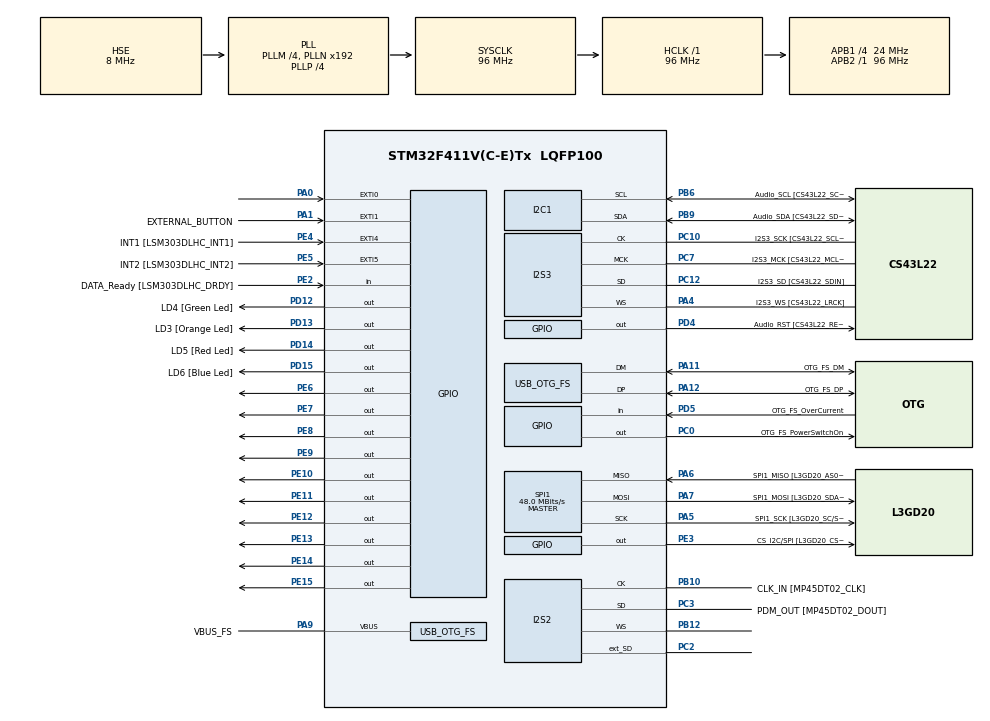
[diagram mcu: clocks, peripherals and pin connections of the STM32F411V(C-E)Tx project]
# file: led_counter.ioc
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I2S2.AudioFreq=I2S_AUDIOFREQ_96K
I2S2.ErrorAudioFreq=0.15 %
I2S2.FullDuplexMode=I2S_FULLDUPLEXMODE_ENABLE
I2S2.Instance=SPI$Index
I2S2.RealAudioFreq=96.153 KHz
I2S2.VirtualMode=I2S_MODE_MASTER
I2S3.AudioFreq=I2S_AUDIOFREQ_96K
I2S3.ErrorAudioFreq=-6.99 %
I2S3.FullDuplexMode=I2S_FULLDUPLEXMODE_DISABLE
I2S3.Instance=SPI$Index
I2S3.RealAudioFreq=89.285 KHz
I2S3.VirtualMode=I2S_MODE_MASTER
Mcu.Family=STM32F4
Mcu.Name=STM32F411V(C-E)Tx
Mcu.Package=LQFP100
NVIC.EXTI0_IRQn=true\:0\:0\:false\:false\:true\:true\:true\:true
NVIC.EXTI1_IRQn=true\:0\:0\:false\:false\:true\:true\:true\:true
NVIC.OTG_FS_IRQn=true\:0\:0\:false\:false\:true\:true\:true\:true
NVIC.PriorityGroup=NVIC_PRIORITYGROUP_0
PA0-WKUP.GPIO_ModeDefaultEXTI=GPIO_MODE_IT_RISING_FALLING
PA0-WKUP.Signal=GPXTI0
PA1.GPIO_Label=EXTERNAL_BUTTON
PA1.GPIO_ModeDefaultEXTI=GPIO_MODE_IT_RISING_FALLING
PA1.Signal=GPXTI1
PA10.GPIO_Label=OTG_FS_ID
PA10.Signal=USB_OTG_FS_ID
PA11.GPIO_Label=OTG_FS_DM
PA11.Mode=Host_Only
PA11.Signal=USB_OTG_FS_DM
PA12.GPIO_Label=OTG_FS_DP
PA12.Mode=Host_Only
PA12.Signal=USB_OTG_FS_DP
PA13.GPIO_Label=SWDIO
PA13.Mode=Serial_Wire
PA13.Signal=SYS_JTMS-SWDIO
PA14.GPIO_Label=SWCLK
PA14.Mode=Serial_Wire
PA14.Signal=SYS_JTCK-SWCLK
PA4.GPIO_Label=I2S3_WS [CS43L22_LRCK]
PA4.GPIO_Mode=GPIO_MODE_AF_PP
PA4.GPIO_PuPd=GPIO_NOPULL
PA4.GPIO_Speed=GPIO_SPEED_FREQ_LOW
PA4.Mode=Half_Duplex_Master
PA4.Signal=I2S3_WS
PA5.GPIO_Label=SPI1_SCK [L3GD20_SC/SPC]
PA5.Mode=Full_Duplex_Master
PA5.Signal=SPI1_SCK
PA6.GPIO_Label=SPI1_MISO [L3GD20_AS0/SDO]
PA6.Mode=Full_Duplex_Master
PA6.Signal=SPI1_MISO
PA7.GPIO_Label=SPI1_MOSI [L3GD20_SDA/SDI/SDO]
PA7.Mode=Full_Duplex_Master
PA7.Signal=SPI1_MOSI
PA9.GPIO_Label=VBUS_FS
PA9.Mode=Activate_VBUS
PA9.Signal=USB_OTG_FS_VBUS
PB10.GPIO_Label=CLK_IN [MP45DT02_CLK]
PB10.Mode=Full_Duplex_Master
PB10.Signal=I2S2_CK
PB12.Mode=Full_Duplex_Master
PB12.Signal=I2S2_WS
PB3.GPIO_Label=SWO
PB3.Signal=SYS_JTDO-SWO
PB6.GPIO_Label=Audio_SCL [CS43L22_SCL]
PB6.GPIO_Mode=GPIO_MODE_AF_OD
PB6.GPIO_Pu=GPIO_PULLUP
PB6.GPIO_PuPd=GPIO_NOPULL
PB6.GPIO_Speed=GPIO_SPEED_FREQ_LOW
PB6.Mode=I2C
PB6.Signal=I2C1_SCL
PB9.GPIO_Label=Audio_SDA [CS43L22_SDA]
PB9.GPIO_Mode=GPIO_MODE_AF_OD
PB9.GPIO_Pu=GPIO_PULLUP
PB9.GPIO_PuPd=GPIO_NOPULL
PB9.GPIO_Speed=GPIO_SPEED_FREQ_LOW
PB9.Mode=I2C
PB9.Signal=I2C1_SDA
PC0.GPIO_Label=OTG_FS_PowerSwitchOn
PC0.PinState=GPIO_PIN_SET
PC0.Signal=GPIO_Output
PC10.GPIO_Label=I2S3_SCK [CS43L22_SCLK]
PC10.GPIO_Mode=GPIO_MODE_AF_PP
PC10.GPIO_PuPd=GPIO_NOPULL
PC10.GPIO_Speed=GPIO_SPEED_FREQ_LOW
PC10.Mode=Half_Duplex_Master
PC10.Signal=I2S3_CK
PC12.GPIO_Label=I2S3_SD [CS43L22_SDIN]
PC12.GPIO_Mode=GPIO_MODE_AF_PP
PC12.GPIO_PuPd=GPIO_NOPULL
PC12.GPIO_Speed=GPIO_SPEED_FREQ_LOW
PC12.Mode=Half_Duplex_Master
PC12.Signal=I2S3_SD
PC14-OSC32_IN.GPIO_Label=PC14-OSC32_IN
PC14-OSC32_IN.Mode=LSE-External-Oscillator
PC14-OSC32_IN.Signal=RCC_OSC32_IN
PC15-OSC32_OUT.GPIO_Label=PC15-OSC32_OUT
PC15-OSC32_OUT.Mode=LSE-External-Oscillator
PC15-OSC32_OUT.Signal=RCC_OSC32_OUT
PC2.Mode=Full_Duplex_Master
PC2.Signal=I2S2_ext_SD
PC3.GPIO_Label=PDM_OUT [MP45DT02_DOUT]
PC3.Mode=Full_Duplex_Master
PC3.Signal=I2S2_SD
PC7.GPIO_Label=I2S3_MCK [CS43L22_MCLK]
PC7.GPIO_Mode=GPIO_MODE_AF_PP
PC7.GPIO_PuPd=GPIO_NOPULL
PC7.GPIO_Speed=GPIO_SPEED_FREQ_LOW
PC7.Mode=Master_Clock_Activated
PC7.Signal=I2S3_MCK
PD12.GPIO_Label=LD4 [Green Led]
PD12.GPIO_PuPd=GPIO_NOPULL
PD12.GPIO_Speed=GPIO_SPEED_FREQ_LOW
PD12.Signal=GPIO_Output
PD13.GPIO_Label=LD3 [Orange Led]
PD13.GPIO_PuPd=GPIO_NOPULL
PD13.GPIO_Speed=GPIO_SPEED_FREQ_LOW
PD13.Signal=GPIO_Output
PD14.GPIO_Label=LD5 [Red Led]
PD14.GPIO_PuPd=GPIO_NOPULL
PD14.GPIO_Speed=GPIO_SPEED_FREQ_LOW
PD14.Signal=GPIO_Output
PD15.GPIO_Label=LD6 [Blue Led]
PD15.GPIO_PuPd=GPIO_NOPULL
PD15.GPIO_Speed=GPIO_SPEED_FREQ_LOW
PD15.Signal=GPIO_Output
PD4.GPIO_Label=Audio_RST [CS43L22_RESET]
PD4.Signal=GPIO_Output
PD5.GPIO_Label=OTG_FS_OverCurrent
PD5.Signal=GPIO_Input
PE10.PinState=GPIO_PIN_RESET
PE10.Signal=GPIO_Output
PE11.PinState=GPIO_PIN_RESET
PE11.Signal=GPIO_Output
PE12.PinState=GPIO_PIN_RESET
PE12.Signal=GPIO_Output
PE13.PinState=GPIO_PIN_RESET
PE13.Signal=GPIO_Output
PE14.PinState=GPIO_PIN_RESET
PE14.Signal=GPIO_Output
PE15.PinState=GPIO_PIN_RESET
PE15.Signal=GPIO_Output
PE2.GPIO_Label=DATA_Ready [LSM303DLHC_DRDY]
PE2.Signal=GPIO_Input
PE3.GPIO_Label=CS_I2C/SPI [L3GD20_CS_I2C/SPI]
PE3.Signal=GPIO_Output
PE4.GPIO_Label=INT1 [LSM303DLHC_INT1]
PE4.GPIO_ModeDefaultEXTI=GPIO_MODE_EVT_RISING
PE4.Signal=GPXTI4
PE5.GPIO_Label=INT2 [LSM303DLHC_INT2]
PE5.GPIO_ModeDefaultEXTI=GPIO_MODE_EVT_RISING
PE5.Signal=GPXTI5
PE6.PinState=GPIO_PIN_RESET
PE6.Signal=GPIO_Output
PE7.PinState=GPIO_PIN_RESET
PE7.Signal=GPIO_Output
PE8.PinState=GPIO_PIN_RESET
PE8.Signal=GPIO_Output
PE9.PinState=GPIO_PIN_RESET
PE9.Signal=GPIO_Output
PH0\ -\ OSC_IN.GPIO_Label=PH0-OSC_IN
PH0\ -\ OSC_IN.Mode=HSE-External-Oscillator
PH0\ -\ OSC_IN.Signal=RCC_OSC_IN
PH1\ -\ OSC_OUT.GPIO_Label=PH1-OSC_OUT
PH1\ -\ OSC_OUT.Mode=HSE-External-Oscillator
PH1\ -\ OSC_OUT.Signal=RCC_OSC_OUT
ProjectManager.HeapSize=0x200
ProjectManager.StackSize=0x400
ProjectManager.TargetToolchain=STM32CubeIDE
RCC.48MHZClocksFreq_Value=48000000
RCC.AHBFreq_Value=96000000
RCC.APB1CLKDivider=RCC_HCLK_DIV4
RCC.APB1Freq_Value=24000000
RCC.APB1TimFreq_Value=48000000
RCC.APB2Freq_Value=96000000
RCC.APB2TimFreq_Value=96000000
RCC.CortexFreq_Value=96000000
RCC.HCLKFreq_Value=96000000
RCC.HSE_VALUE=8000000
RCC.HSI_VALUE=16000000
RCC.PLLI2SM=5
RCC.PLLI2SN=200
RCC.PLLM=4
RCC.PLLP=RCC_PLLP_DIV4
RCC.PLLQ=8
RCC.SYSCLKFreq_VALUE=96000000
RCC.SYSCLKSource=RCC_SYSCLKSOURCE_PLLCLK
RCC.VCOOutputFreq_Value=384000000
SPI1.BaudRatePrescaler=SPI_BAUDRATEPRESCALER_2
SPI1.CalculateBaudRate=48.0 MBits/s
SPI1.Direction=SPI_DIRECTION_2LINES
SPI1.Mode=SPI_MODE_MASTER
SPI1.VirtualType=VM_MASTER
USB_HOST.BSP.number=1
USB_HOST.USBH_HandleTypeDef=hUsbHostFS
USB_HOST.VirtualModeFS=Cdc
USB_HOST0.BSP.STBoard=false
USB_HOST0.BSP.api=Unknown
USB_HOST0.BSP.instance=PC0
USB_HOST0.BSP.ip=GPIO
USB_HOST0.BSP.mode=Output
USB_HOST0.BSP.name=Drive_VBUS_FS
USB_HOST0.BSP.solution=PC0
USB_OTG_FS.VirtualMode=Host_Only
USB_OTG_FS.phy_itface=HCD_PHY_EMBEDDED
VP_USB_HOST_VS_USB_HOST_CDC_FS.Mode=CDC_FS
board=STM32F411E-DISCO

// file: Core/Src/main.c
/* USER CODE BEGIN Header */
/**
  ******************************************************************************
  * @file           : main.c
  * @brief          : Main program body
  ******************************************************************************
  * @attention
  *
  * Copyright (c) 2022 STMicroelectronics.
  * All rights reserved.
  *
  * This software is licensed under terms that can be found in the LICENSE file
  * in the root directory of this software component.
  * If no LICENSE file comes with this software, it is provided AS-IS.
  *
  ******************************************************************************
  */
/* USER CODE END Header */
#include "main.h"
#include "usb_host.h"

/* USER CODE BEGIN Includes */
#include "stdbool.h"
/* USER CODE END Includes */

/* USER CODE BEGIN PD */
#define DEBOUNCE_THRESHOLD 50
#define UPDATE_DELAY 50
#define HOLD_DELAY 500
#define AUTO_COUNT_DELAY 100
/* USER CODE END PD */

I2C_HandleTypeDef hi2c1;

I2S_HandleTypeDef hi2s2;
I2S_HandleTypeDef hi2s3;

SPI_HandleTypeDef hspi1;

void SystemClock_Config(void);
void PeriphCommonClock_Config(void);
static void MX_GPIO_Init(void);
static void MX_I2C1_Init(void);
static void MX_I2S2_Init(void);
static void MX_I2S3_Init(void);
static void MX_SPI1_Init(void);
void MX_USB_HOST_Process(void);

/* USER CODE BEGIN PFP */
volatile bool pressed = false;
volatile uint32_t counter = 0;
volatile uint32_t last_press;
static uint32_t last_tick;

void HAL_GPIO_EXTI_Callback(uint16_t GPIO_Pin) {
	if (GPIO_Pin != EXTERNAL_BUTTON_Pin) {
		return;
	}

	if (HAL_GetTick() - last_tick < DEBOUNCE_THRESHOLD) {
		return;
	}

	if (pressed) {
		counter++;
	} else {
		last_press = HAL_GetTick();
	}

	pressed = !pressed;

	last_tick = HAL_GetTick();
}
/* USER CODE END PFP */

int main(void)
{
  /* USER CODE BEGIN 1 */
	uint32_t get_count() {
		HAL_NVIC_DisableIRQ(EXTERNAL_BUTTON_EXTI_IRQn);
		uint32_t cur_count = counter;
		HAL_NVIC_EnableIRQ(EXTERNAL_BUTTON_EXTI_IRQn);
		return cur_count;
	}

	uint32_t get_last_press() {
		HAL_NVIC_DisableIRQ(EXTERNAL_BUTTON_EXTI_IRQn);
		uint32_t curr_last_press = last_press;
		HAL_NVIC_EnableIRQ(EXTERNAL_BUTTON_EXTI_IRQn);
		return curr_last_press;
	}
  /* USER CODE END 1 */

  /* MCU Configuration--------------------------------------------------------*/

  /* Reset of all peripherals, Initializes the Flash interface and the Systick. */
  HAL_Init();

  /* Configure the system clock */
  SystemClock_Config();

/* Configure the peripherals common clocks */
  PeriphCommonClock_Config();

  /* Initialize all configured peripherals */
  MX_GPIO_Init();
  MX_I2C1_Init();
  MX_I2S2_Init();
  MX_I2S3_Init();
  MX_SPI1_Init();
  MX_USB_HOST_Init();

  /* Infinite loop */
  /* USER CODE BEGIN WHILE */
  HAL_NVIC_DisableIRQ(EXTERNAL_BUTTON_EXTI_IRQn);
  for (int i = 0; i < 16; i++) {
      GPIOE->ODR = 1 << i;
      HAL_Delay(30);
  }
  for (int i = 15; i >= 0; i--) {
      GPIOE->ODR = 1 << i;
      HAL_Delay(30);
  }
  HAL_NVIC_EnableIRQ(EXTERNAL_BUTTON_EXTI_IRQn);

  while (1)
  {
	  GPIOE->ODR &= ~(0x3FF << 6);
	  GPIOE->ODR |= (get_count() & 0x3FF) << 6;

	  if (HAL_GetTick() - get_last_press() > HOLD_DELAY &&
			  HAL_GPIO_ReadPin(GPIOA, EXTERNAL_BUTTON_Pin))
	  {
		  HAL_Delay(AUTO_COUNT_DELAY);
		  counter++;
	  }

	  HAL_Delay(UPDATE_DELAY);
    /* USER CODE END WHILE */
    MX_USB_HOST_Process();

  }
}

void SystemClock_Config(void)
{
  RCC_OscInitTypeDef RCC_OscInitStruct = {0};
  RCC_ClkInitTypeDef RCC_ClkInitStruct = {0};

  /** Configure the main internal regulator output voltage
  */
  __HAL_RCC_PWR_CLK_ENABLE();
  __HAL_PWR_VOLTAGESCALING_CONFIG(PWR_REGULATOR_VOLTAGE_SCALE1);

  /** Initializes the RCC Oscillators according to the specified parameters
  * in the RCC_OscInitTypeDef structure.
  */
  RCC_OscInitStruct.OscillatorType = RCC_OSCILLATORTYPE_HSE;
  RCC_OscInitStruct.HSEState = RCC_HSE_ON;
  RCC_OscInitStruct.PLL.PLLState = RCC_PLL_ON;
  RCC_OscInitStruct.PLL.PLLSource = RCC_PLLSOURCE_HSE;
  RCC_OscInitStruct.PLL.PLLM = 4;
  RCC_OscInitStruct.PLL.PLLN = 192;
  RCC_OscInitStruct.PLL.PLLP = RCC_PLLP_DIV4;
  RCC_OscInitStruct.PLL.PLLQ = 8;
  if (HAL_RCC_OscConfig(&RCC_OscInitStruct) != HAL_OK)
  {
    Error_Handler();
  }

  /** Initializes the CPU, AHB and APB buses clocks
  */
  RCC_ClkInitStruct.ClockType = RCC_CLOCKTYPE_HCLK|RCC_CLOCKTYPE_SYSCLK
                              |RCC_CLOCKTYPE_PCLK1|RCC_CLOCKTYPE_PCLK2;
  RCC_ClkInitStruct.SYSCLKSource = RCC_SYSCLKSOURCE_PLLCLK;
  RCC_ClkInitStruct.AHBCLKDivider = RCC_SYSCLK_DIV1;
  RCC_ClkInitStruct.APB1CLKDivider = RCC_HCLK_DIV4;
  RCC_ClkInitStruct.APB2CLKDivider = RCC_HCLK_DIV1;

  if (HAL_RCC_ClockConfig(&RCC_ClkInitStruct, FLASH_LATENCY_3) != HAL_OK)
  {
    Error_Handler();
  }
}

void PeriphCommonClock_Config(void)
{
  RCC_PeriphCLKInitTypeDef PeriphClkInitStruct = {0};

  /** Initializes the peripherals clock
  */
  PeriphClkInitStruct.PeriphClockSelection = RCC_PERIPHCLK_I2S;
  PeriphClkInitStruct.PLLI2S.PLLI2SN = 200;
  PeriphClkInitStruct.PLLI2S.PLLI2SM = 5;
  PeriphClkInitStruct.PLLI2S.PLLI2SR = 2;
  if (HAL_RCCEx_PeriphCLKConfig(&PeriphClkInitStruct) != HAL_OK)
  {
    Error_Handler();
  }
}

static void MX_I2C1_Init(void)
{

  hi2c1.Instance = I2C1;
  hi2c1.Init.ClockSpeed = 100000;
  hi2c1.Init.DutyCycle = I2C_DUTYCYCLE_2;
  hi2c1.Init.OwnAddress1 = 0;
  hi2c1.Init.AddressingMode = I2C_ADDRESSINGMODE_7BIT;
  hi2c1.Init.DualAddressMode = I2C_DUALADDRESS_DISABLE;
  hi2c1.Init.OwnAddress2 = 0;
  hi2c1.Init.GeneralCallMode = I2C_GENERALCALL_DISABLE;
  hi2c1.Init.NoStretchMode = I2C_NOSTRETCH_DISABLE;
  if (HAL_I2C_Init(&hi2c1) != HAL_OK)
  {
    Error_Handler();
  }

}

static void MX_I2S2_Init(void)
{

  hi2s2.Instance = SPI2;
  hi2s2.Init.Mode = I2S_MODE_MASTER_TX;
  hi2s2.Init.Standard = I2S_STANDARD_PHILIPS;
  hi2s2.Init.DataFormat = I2S_DATAFORMAT_16B;
  hi2s2.Init.MCLKOutput = I2S_MCLKOUTPUT_DISABLE;
  hi2s2.Init.AudioFreq = I2S_AUDIOFREQ_96K;
  hi2s2.Init.CPOL = I2S_CPOL_LOW;
  hi2s2.Init.ClockSource = I2S_CLOCK_PLL;
  hi2s2.Init.FullDuplexMode = I2S_FULLDUPLEXMODE_ENABLE;
  if (HAL_I2S_Init(&hi2s2) != HAL_OK)
  {
    Error_Handler();
  }

}

static void MX_I2S3_Init(void)
{

  hi2s3.Instance = SPI3;
  hi2s3.Init.Mode = I2S_MODE_MASTER_TX;
  hi2s3.Init.Standard = I2S_STANDARD_PHILIPS;
  hi2s3.Init.DataFormat = I2S_DATAFORMAT_16B;
  hi2s3.Init.MCLKOutput = I2S_MCLKOUTPUT_ENABLE;
  hi2s3.Init.AudioFreq = I2S_AUDIOFREQ_96K;
  hi2s3.Init.CPOL = I2S_CPOL_LOW;
  hi2s3.Init.ClockSource = I2S_CLOCK_PLL;
  hi2s3.Init.FullDuplexMode = I2S_FULLDUPLEXMODE_DISABLE;
  if (HAL_I2S_Init(&hi2s3) != HAL_OK)
  {
    Error_Handler();
  }

}

static void MX_SPI1_Init(void)
{

  /* SPI1 parameter configuration*/
  hspi1.Instance = SPI1;
  hspi1.Init.Mode = SPI_MODE_MASTER;
  hspi1.Init.Direction = SPI_DIRECTION_2LINES;
  hspi1.Init.DataSize = SPI_DATASIZE_8BIT;
  hspi1.Init.CLKPolarity = SPI_POLARITY_LOW;
  hspi1.Init.CLKPhase = SPI_PHASE_1EDGE;
  hspi1.Init.NSS = SPI_NSS_SOFT;
  hspi1.Init.BaudRatePrescaler = SPI_BAUDRATEPRESCALER_2;
  hspi1.Init.FirstBit = SPI_FIRSTBIT_MSB;
  hspi1.Init.TIMode = SPI_TIMODE_DISABLE;
  hspi1.Init.CRCCalculation = SPI_CRCCALCULATION_DISABLE;
  hspi1.Init.CRCPolynomial = 10;
  if (HAL_SPI_Init(&hspi1) != HAL_OK)
  {
    Error_Handler();
  }

}

static void MX_GPIO_Init(void)
{
  GPIO_InitTypeDef GPIO_InitStruct = {0};

  /* GPIO Ports Clock Enable */
  __HAL_RCC_GPIOE_CLK_ENABLE();
  __HAL_RCC_GPIOC_CLK_ENABLE();
  __HAL_RCC_GPIOH_CLK_ENABLE();
  __HAL_RCC_GPIOA_CLK_ENABLE();
  __HAL_RCC_GPIOB_CLK_ENABLE();
  __HAL_RCC_GPIOD_CLK_ENABLE();

  /*Configure GPIO pin Output Level */
  HAL_GPIO_WritePin(GPIOE, CS_I2C_SPI_Pin|GPIO_PIN_6|GPIO_PIN_7|GPIO_PIN_8
                          |GPIO_PIN_9|GPIO_PIN_10|GPIO_PIN_11|GPIO_PIN_12
                          |GPIO_PIN_13|GPIO_PIN_14|GPIO_PIN_15, GPIO_PIN_RESET);

  /*Configure GPIO pin Output Level */
  HAL_GPIO_WritePin(OTG_FS_PowerSwitchOn_GPIO_Port, OTG_FS_PowerSwitchOn_Pin, GPIO_PIN_SET);

  /*Configure GPIO pin Output Level */
  HAL_GPIO_WritePin(GPIOD, LD4_Pin|LD3_Pin|LD5_Pin|LD6_Pin
                          |Audio_RST_Pin, GPIO_PIN_RESET);

  /*Configure GPIO pin : DATA_Ready_Pin */
  GPIO_InitStruct.Pin = DATA_Ready_Pin;
  GPIO_InitStruct.Mode = GPIO_MODE_INPUT;
  GPIO_InitStruct.Pull = GPIO_NOPULL;
  HAL_GPIO_Init(DATA_Ready_GPIO_Port, &GPIO_InitStruct);

  /*Configure GPIO pins : CS_I2C_SPI_Pin PE6 PE7 PE8
                           PE9 PE10 PE11 PE12
                           PE13 PE14 PE15 */
  GPIO_InitStruct.Pin = CS_I2C_SPI_Pin|GPIO_PIN_6|GPIO_PIN_7|GPIO_PIN_8
                          |GPIO_PIN_9|GPIO_PIN_10|GPIO_PIN_11|GPIO_PIN_12
                          |GPIO_PIN_13|GPIO_PIN_14|GPIO_PIN_15;
  GPIO_InitStruct.Mode = GPIO_MODE_OUTPUT_PP;
  GPIO_InitStruct.Pull = GPIO_NOPULL;
  GPIO_InitStruct.Speed = GPIO_SPEED_FREQ_LOW;
  HAL_GPIO_Init(GPIOE, &GPIO_InitStruct);

  /*Configure GPIO pins : INT1_Pin INT2_Pin */
  GPIO_InitStruct.Pin = INT1_Pin|INT2_Pin;
  GPIO_InitStruct.Mode = GPIO_MODE_EVT_RISING;
  GPIO_InitStruct.Pull = GPIO_NOPULL;
  HAL_GPIO_Init(GPIOE, &GPIO_InitStruct);

  /*Configure GPIO pin : OTG_FS_PowerSwitchOn_Pin */
  GPIO_InitStruct.Pin = OTG_FS_PowerSwitchOn_Pin;
  GPIO_InitStruct.Mode = GPIO_MODE_OUTPUT_PP;
  GPIO_InitStruct.Pull = GPIO_NOPULL;
  GPIO_InitStruct.Speed = GPIO_SPEED_FREQ_LOW;
  HAL_GPIO_Init(OTG_FS_PowerSwitchOn_GPIO_Port, &GPIO_InitStruct);

  /*Configure GPIO pins : PA0 EXTERNAL_BUTTON_Pin */
  GPIO_InitStruct.Pin = GPIO_PIN_0|EXTERNAL_BUTTON_Pin;
  GPIO_InitStruct.Mode = GPIO_MODE_IT_RISING_FALLING;
  GPIO_InitStruct.Pull = GPIO_NOPULL;
  HAL_GPIO_Init(GPIOA, &GPIO_InitStruct);

  /*Configure GPIO pins : LD4_Pin LD3_Pin LD5_Pin LD6_Pin
                           Audio_RST_Pin */
  GPIO_InitStruct.Pin = LD4_Pin|LD3_Pin|LD5_Pin|LD6_Pin
                          |Audio_RST_Pin;
  GPIO_InitStruct.Mode = GPIO_MODE_OUTPUT_PP;
  GPIO_InitStruct.Pull = GPIO_NOPULL;
  GPIO_InitStruct.Speed = GPIO_SPEED_FREQ_LOW;
  HAL_GPIO_Init(GPIOD, &GPIO_InitStruct);

  /*Configure GPIO pin : OTG_FS_OverCurrent_Pin */
  GPIO_InitStruct.Pin = OTG_FS_OverCurrent_Pin;
  GPIO_InitStruct.Mode = GPIO_MODE_INPUT;
  GPIO_InitStruct.Pull = GPIO_NOPULL;
  HAL_GPIO_Init(OTG_FS_OverCurrent_GPIO_Port, &GPIO_InitStruct);

  /* EXTI interrupt init*/
  HAL_NVIC_SetPriority(EXTI0_IRQn, 0, 0);
  HAL_NVIC_EnableIRQ(EXTI0_IRQn);

  HAL_NVIC_SetPriority(EXTI1_IRQn, 0, 0);
  HAL_NVIC_EnableIRQ(EXTI1_IRQn);

}

void Error_Handler(void)
{
  __disable_irq();
  while (1)
  {
  }
}
